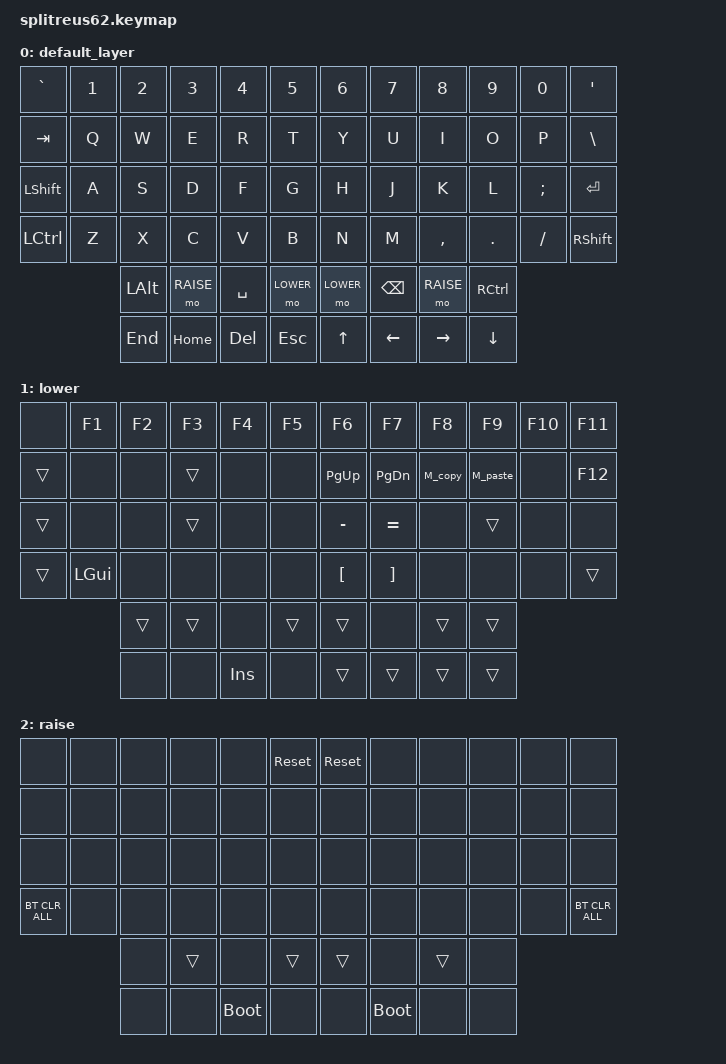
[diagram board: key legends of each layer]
/*
 * Copyright (c) 2020 The ZMK Contributors
 *
 * SPDX-License-Identifier: MIT
 */


#include <behaviors.dtsi>
#include <dt-bindings/zmk/keys.h>
#include <dt-bindings/zmk/bt.h>
#include <dt-bindings/zmk/outputs.h>

#define DEFAULT 0
#define LOWER   1
#define RAISE   2

/ {
    macros {
        M_copy: copy_macro {
            compatible = "zmk,behavior-macro";
            #binding-cells = <0>;
            bindings
                = <&macro_press &kp LCTRL>,
                  <&macro_tap &kp C>,
                  <&macro_release &kp LCTRL>;
        };
        M_paste: paste_macro {
            compatible = "zmk,behavior-macro";
            #binding-cells = <0>;
            bindings
                = <&macro_press &kp LCTRL>,
                  <&macro_tap &kp V>,
                  <&macro_release &kp LCTRL>;
        };

    };


    keymap {
        compatible = "zmk,keymap";

        default_layer {
            bindings = <
&kp GRAVE   &kp N1  &kp N2      &kp N3      &kp N4      &kp N5              &kp N6      &kp N7      &kp N8      &kp N9    &kp N0    &kp SQT
&kp TAB     &kp Q   &kp W       &kp E       &kp R       &kp T               &kp Y       &kp U       &kp I       &kp O     &kp P     &kp BSLH
&kp LSHFT   &kp A   &kp S       &kp D       &kp F       &kp G               &kp H       &kp J       &kp K       &kp L     &kp SEMI  &kp RET
&kp LCTRL   &kp Z   &kp X       &kp C       &kp V       &kp B               &kp N       &kp M       &kp COMMA   &kp DOT   &kp FSLH  &kp RSHFT
                    &kp LALT    &mo RAISE   &kp SPACE   &mo LOWER           &mo LOWER   &kp BKSP    &mo RAISE   &kp RCTRL
                    &kp END     &kp HOME    &kp DEL     &kp ESC             &kp UP      &kp LEFT    &kp RIGHT   &kp DOWN
            >;
        };

        lower {
            bindings = <
&none   &kp F1      &kp F2  &kp F3  &kp F4  &kp F5          &kp F6      &kp F7      &kp F8   &kp F9   &kp F10 &kp F11
&trans  &none       &none   &trans  &none   &none           &kp PG_UP   &kp PG_DN   &M_copy  &M_paste &none   &kp F12
&trans  &none       &none   &trans  &none   &none           &kp MINUS   &kp EQUAL   &none    &trans   &none   &none
&trans  &kp LGUI    &none   &none   &none   &none           &kp LBKT    &kp RBKT    &none    &none    &none   &trans
                    &trans  &trans  &none   &trans          &trans      &none       &trans   &trans
                    &none   &none   &kp INS &none           &trans      &trans      &trans   &trans
            >;
        };

        raise {
            bindings = <
&none           &none   &none   &none   &none       &sys_reset          &sys_reset  &none       &none   &none   &none   &none
&none           &none   &none   &none   &none       &none               &none       &none       &none   &none   &none   &none
&none           &none   &none   &none   &none       &none               &none       &none       &none   &none   &none   &none
&bt BT_CLR_ALL  &none   &none   &none   &none       &none               &none       &none       &none   &none   &none   &bt BT_CLR_ALL
                        &none   &trans  &none       &trans              &trans      &none       &trans  &none
                        &none   &none   &bootloader &none               &none       &bootloader &none   &none
            >;
        };
    };
};

